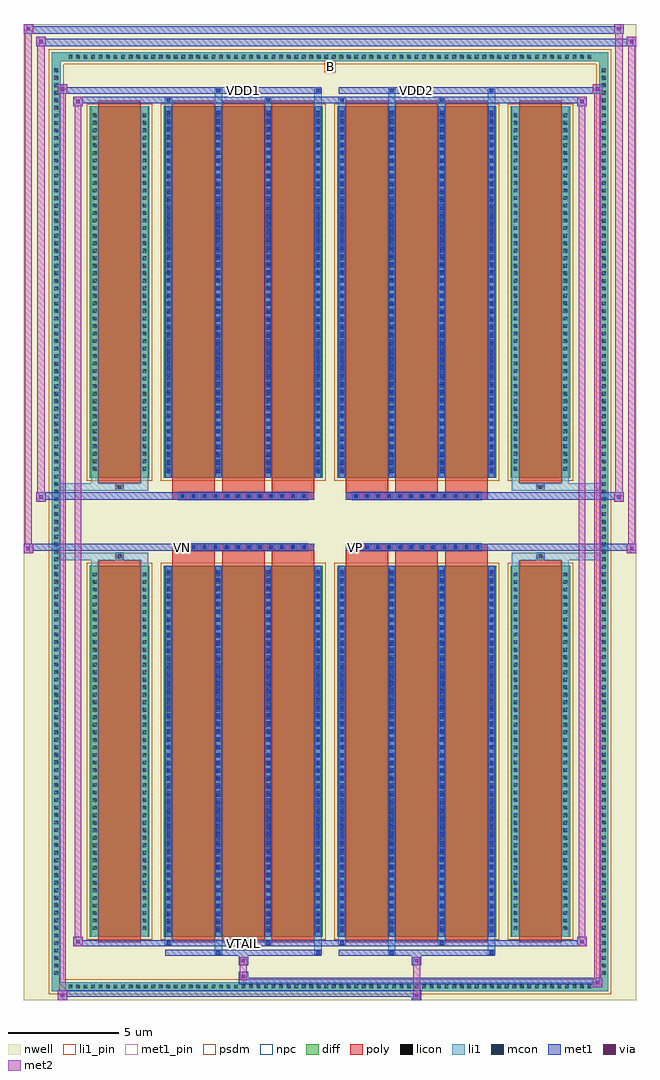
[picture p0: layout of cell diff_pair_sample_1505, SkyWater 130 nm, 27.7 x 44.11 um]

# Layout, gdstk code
import gdstk
lib = gdstk.Library(unit=1e-6, precision=5e-09)
def R(c, l, rs):  # rectangles x0, y0, x1, y1
    for r in rs: c.add(gdstk.rectangle(r[:2], r[2:], *l))
def A(c, l, x, y, w, h, nx, ny, dx, dy):  # array of equal rectangles
    R(c, l, [(x+i*dx, y+j*dy, x+i*dx+w, y+j*dy+h) for i in range(nx) for j in range(ny)])
def P(c, l, *ps):  # polygons
    for p in ps: c.add(gdstk.Polygon(p, *l))
nwell = (64, 20)
diff = (65, 20)
poly = (66, 20)
licon = (66, 44)
li1_pin = (67, 16)
li1 = (67, 20)
mcon = (67, 44)
met1_pin = (68, 16)
met1 = (68, 20)
via = (68, 44)
met2 = (69, 20)
psdm = (94, 20)
npc = (95, 20)

diff_pair_sample_1505 = lib.new_cell('diff_pair_sample_1505')
R(diff_pair_sample_1505, nwell, [(-13.85,-21.62,13.85,22.49), (-11.17,-19.81,-0.01,-0.795), (0.01,-19.81,11.17,-0.795), (-11.17,0.795,-0.01,19.81), (0.01,0.795,11.17,19.81)])
A(diff_pair_sample_1505, diff, -11.935, -21.22, 0.41, 0.41, 70, 2, 0.34, 42.03)
A(diff_pair_sample_1505, diff, -12.58, -20.605, 0.41, 0.41, 1, 121, 0, 0.34)
A(diff_pair_sample_1505, diff, 12.17, -20.605, 0.41, 0.41, 1, 121, 0, 0.34)
R(diff_pair_sample_1505, diff, [(-11.935,-21.22,11.935,-20.81), (-12.58,-20.605,-12.17,20.605), (12.17,-20.605,12.58,20.605), (-10.86,-18.765,-8.16,-1.985), (-7.52,-18.765,-0.32,-1.985), (0.32,-18.765,7.52,-1.985), (8.16,-18.765,10.86,-1.985), (-10.86,1.985,-8.16,18.765), (-7.52,1.985,-0.32,18.765), (0.32,1.985,7.52,18.765), (8.16,1.985,10.86,18.765), (-11.935,20.81,11.935,21.22)])
P(diff_pair_sample_1505, diff, [(12.58,21.22),(-12.58,21.22),(-12.58,-20.81),(-12.17,-20.81),(-12.17,20.81),(12.17,20.81),(12.17,-20.81),(-12.17,-20.81),(-12.58,-20.81),(-12.58,-21.22),(12.58,-21.22)])
A(diff_pair_sample_1505, poly, -7.13, -19.015, 1.92, 17.28, 3, 2, 2.25, 20.75)
A(diff_pair_sample_1505, poly, 0.71, -19.015, 1.92, 17.28, 3, 2, 2.25, 20.75)
A(diff_pair_sample_1505, poly, -7.13, -1.735, 1.92, 0.41, 3, 2, 2.25, 3.06)
A(diff_pair_sample_1505, poly, 0.71, -1.735, 1.92, 0.41, 3, 2, 2.25, 3.06)
A(diff_pair_sample_1505, poly, -6.835, -1.325, 0.33, 0.33, 12, 2, 0.5, 2.32)
A(diff_pair_sample_1505, poly, 1.005, -1.325, 0.33, 0.33, 12, 2, 0.5, 2.32)
R(diff_pair_sample_1505, poly, [(-10.47,-19.015,-8.55,-1.735), (8.55,-19.015,10.47,-1.735), (-9.675,-1.735,-9.345,-1.405), (-9.675,-1.735,-9.345,-1.405), (9.345,-1.735,9.675,-1.405), (9.345,-1.735,9.675,-1.405), (-7.13,-1.325,-0.71,-0.995), (0.71,-1.325,7.13,-0.995), (-7.13,0.995,-0.71,1.325), (0.71,0.995,7.13,1.325), (-9.675,1.405,-9.345,1.735), (-9.675,1.405,-9.345,1.735), (9.345,1.405,9.675,1.735), (9.345,1.405,9.675,1.735), (-10.47,1.735,-8.55,19.015), (8.55,1.735,10.47,19.015)])
A(diff_pair_sample_1505, licon, -11.815, -21.1, 0.17, 0.17, 70, 2, 0.34, 42.03)
A(diff_pair_sample_1505, licon, -12.46, -20.485, 0.17, 0.17, 1, 121, 0, 0.34)
A(diff_pair_sample_1505, licon, 12.29, -20.485, 0.17, 0.17, 1, 121, 0, 0.34)
A(diff_pair_sample_1505, licon, -10.72, -18.45, 0.17, 0.17, 1, 48, 0, 0.34)
A(diff_pair_sample_1505, licon, -8.47, -18.45, 0.17, 0.17, 1, 48, 0, 0.34)
A(diff_pair_sample_1505, licon, -7.38, -18.45, 0.17, 0.17, 4, 48, 2.25, 0.34)
A(diff_pair_sample_1505, licon, 0.46, -18.45, 0.17, 0.17, 4, 48, 2.25, 0.34)
A(diff_pair_sample_1505, licon, 8.3, -18.45, 0.17, 0.17, 1, 48, 0, 0.34)
A(diff_pair_sample_1505, licon, 10.55, -18.45, 0.17, 0.17, 1, 48, 0, 0.34)
A(diff_pair_sample_1505, licon, -6.755, -1.245, 0.17, 0.17, 12, 2, 0.5, 2.32)
A(diff_pair_sample_1505, licon, 1.085, -1.245, 0.17, 0.17, 12, 2, 0.5, 2.32)
A(diff_pair_sample_1505, licon, -10.72, 2.3, 0.17, 0.17, 1, 48, 0, 0.34)
A(diff_pair_sample_1505, licon, -8.47, 2.3, 0.17, 0.17, 1, 48, 0, 0.34)
A(diff_pair_sample_1505, licon, -7.38, 2.3, 0.17, 0.17, 4, 48, 2.25, 0.34)
A(diff_pair_sample_1505, licon, 0.46, 2.3, 0.17, 0.17, 4, 48, 2.25, 0.34)
A(diff_pair_sample_1505, licon, 8.3, 2.3, 0.17, 0.17, 1, 48, 0, 0.34)
A(diff_pair_sample_1505, licon, 10.55, 2.3, 0.17, 0.17, 1, 48, 0, 0.34)
R(diff_pair_sample_1505, licon, [(-9.595,-1.655,-9.425,-1.485), (9.425,-1.655,9.595,-1.485), (-9.595,1.485,-9.425,1.655), (9.425,1.485,9.595,1.655)])
R(diff_pair_sample_1505, li1_pin, [(-0.25,20.31,0.25,20.81)])
A(diff_pair_sample_1505, li1, -11.895, -21.18, 0.33, 0.33, 70, 2, 0.34, 42.03)
A(diff_pair_sample_1505, li1, -12.54, -20.565, 0.33, 0.33, 1, 121, 0, 0.34)
A(diff_pair_sample_1505, li1, 12.21, -20.565, 0.33, 0.33, 1, 121, 0, 0.34)
A(diff_pair_sample_1505, li1, -7.46, -18.765, 0.33, 16.78, 4, 2, 2.25, 20.75)
A(diff_pair_sample_1505, li1, 0.38, -18.765, 0.33, 16.78, 4, 2, 2.25, 20.75)
A(diff_pair_sample_1505, li1, -7.38, -18.56, 0.17, 0.17, 4, 46, 2.25, 0.36)
A(diff_pair_sample_1505, li1, -7.38, -18.56, 0.17, 16.37, 4, 2, 2.25, 20.75)
A(diff_pair_sample_1505, li1, 0.46, -18.56, 0.17, 0.17, 4, 46, 2.25, 0.36)
A(diff_pair_sample_1505, li1, 0.46, -18.56, 0.17, 16.37, 4, 2, 2.25, 20.75)
A(diff_pair_sample_1505, li1, -10.8, -18.53, 0.33, 0.33, 1, 48, 0, 0.34)
A(diff_pair_sample_1505, li1, -8.55, -18.53, 0.33, 0.33, 1, 48, 0, 0.34)
A(diff_pair_sample_1505, li1, -7.46, -18.53, 0.33, 0.33, 4, 48, 2.25, 0.34)
A(diff_pair_sample_1505, li1, 0.38, -18.53, 0.33, 0.33, 4, 48, 2.25, 0.34)
A(diff_pair_sample_1505, li1, 8.22, -18.53, 0.33, 0.33, 1, 48, 0, 0.34)
A(diff_pair_sample_1505, li1, 10.47, -18.53, 0.33, 0.33, 1, 48, 0, 0.34)
A(diff_pair_sample_1505, li1, -6.835, -1.325, 0.33, 0.33, 12, 2, 0.5, 2.32)
A(diff_pair_sample_1505, li1, 1.005, -1.325, 0.33, 0.33, 12, 2, 0.5, 2.32)
A(diff_pair_sample_1505, li1, -7.38, 2.19, 0.17, 0.17, 4, 46, 2.25, 0.36)
A(diff_pair_sample_1505, li1, 0.46, 2.19, 0.17, 0.17, 4, 46, 2.25, 0.36)
A(diff_pair_sample_1505, li1, -10.8, 2.22, 0.33, 0.33, 1, 48, 0, 0.34)
A(diff_pair_sample_1505, li1, -8.55, 2.22, 0.33, 0.33, 1, 48, 0, 0.34)
A(diff_pair_sample_1505, li1, -7.46, 2.22, 0.33, 0.33, 4, 48, 2.25, 0.34)
A(diff_pair_sample_1505, li1, 0.38, 2.22, 0.33, 0.33, 4, 48, 2.25, 0.34)
A(diff_pair_sample_1505, li1, 8.22, 2.22, 0.33, 0.33, 1, 48, 0, 0.34)
A(diff_pair_sample_1505, li1, 10.47, 2.22, 0.33, 0.33, 1, 48, 0, 0.34)
R(diff_pair_sample_1505, li1, [(-12.58,-21.22,-12.17,-20.81), (-12.58,-21.22,-12.17,-20.81), (-12.17,-21.22,12.17,-20.81), (12.17,-21.22,12.58,-20.81), (12.17,-21.22,12.58,-20.81), (-12.58,-20.81,-12.17,20.81), (12.17,-20.81,12.58,20.81), (-5.21,-19.57,-4.88,-18.765), (-5.13,-19.57,-4.96,-19.4), (-0.71,-19.57,-0.38,-18.765), (-0.63,-19.57,-0.46,-19.4), (2.63,-19.57,2.96,-18.765), (2.71,-19.57,2.88,-19.4), (7.13,-19.57,7.46,-18.765), (7.21,-19.57,7.38,-19.4), (-7.46,-19.14,-7.13,-18.765), (-7.38,-19.14,-7.21,-18.97), (-2.96,-19.14,-2.63,-18.765), (-2.88,-19.14,-2.71,-18.97), (0.38,-19.14,0.71,-18.765), (0.46,-19.14,0.63,-18.97), (4.88,-19.14,5.21,-18.765), (4.96,-19.14,5.13,-18.97), (-10.8,-18.765,-10.47,-1.985), (-8.55,-18.765,-8.22,-1.985), (8.22,-18.765,8.55,-1.985), (10.47,-18.765,10.8,-1.985), (-10.8,-1.985,-10.47,-1.405), (-8.55,-1.985,-8.22,-1.405), (8.22,-1.985,8.55,-1.405), (10.47,-1.985,10.8,-1.405), (-12.58,-1.735,-9.675,-1.405), (-10.8,-1.735,-9.675,-1.405), (-9.675,-1.735,-9.345,-1.405), (-9.345,-1.735,-8.22,-1.405), (8.22,-1.735,9.345,-1.405), (9.345,-1.735,9.675,-1.405), (9.345,-1.735,12.58,-1.405), (9.675,-1.735,10.8,-1.405), (-12.58,1.405,-9.675,1.735), (-10.8,1.405,-9.675,1.735), (-10.8,1.405,-10.47,1.985), (-9.675,1.405,-9.345,1.735), (-9.345,1.405,-8.22,1.735), (-8.55,1.405,-8.22,1.985), (8.22,1.405,9.345,1.735), (8.22,1.405,8.55,1.985), (9.345,1.405,9.675,1.735), (9.345,1.405,12.58,1.735), (9.675,1.405,10.8,1.735), (10.47,1.405,10.8,1.985), (-10.8,1.985,-10.47,18.765), (-8.55,1.985,-8.22,18.765), (8.22,1.985,8.55,18.765), (10.47,1.985,10.8,18.765), (-7.46,18.765,-7.13,19.14), (-5.21,18.765,-4.88,19.57), (-2.96,18.765,-2.63,19.14), (-0.71,18.765,-0.38,19.57), (0.38,18.765,0.71,19.14), (2.63,18.765,2.96,19.57), (4.88,18.765,5.21,19.14), (7.13,18.765,7.46,19.57), (-7.38,18.97,-7.21,19.14), (-2.88,18.97,-2.71,19.14), (0.46,18.97,0.63,19.14), (4.96,18.97,5.13,19.14), (-5.13,19.4,-4.96,19.57), (-0.63,19.4,-0.46,19.57), (2.71,19.4,2.88,19.57), (7.21,19.4,7.38,19.57), (-12.58,20.81,-12.17,21.22), (-12.58,20.81,-12.17,21.22), (-12.17,20.81,12.17,21.22), (12.17,20.81,12.58,21.22), (12.17,20.81,12.58,21.22)])
A(diff_pair_sample_1505, mcon, -7.38, -18.56, 0.17, 0.17, 4, 46, 2.25, 0.36)
A(diff_pair_sample_1505, mcon, 0.46, -18.56, 0.17, 0.17, 4, 46, 2.25, 0.36)
A(diff_pair_sample_1505, mcon, -6.755, -1.245, 0.17, 0.17, 12, 2, 0.5, 2.32)
A(diff_pair_sample_1505, mcon, 1.085, -1.245, 0.17, 0.17, 12, 2, 0.5, 2.32)
A(diff_pair_sample_1505, mcon, -7.38, 2.19, 0.17, 0.17, 4, 46, 2.25, 0.36)
A(diff_pair_sample_1505, mcon, 0.46, 2.19, 0.17, 0.17, 4, 46, 2.25, 0.36)
R(diff_pair_sample_1505, mcon, [(-5.13,-19.57,-4.96,-19.4), (-0.63,-19.57,-0.46,-19.4), (2.71,-19.57,2.88,-19.4), (7.21,-19.57,7.38,-19.4), (-7.38,-19.14,-7.21,-18.97), (-2.88,-19.14,-2.71,-18.97), (0.46,-19.14,0.63,-18.97), (4.96,-19.14,5.13,-18.97), (-7.38,18.97,-7.21,19.14), (-2.88,18.97,-2.71,19.14), (0.46,18.97,0.63,19.14), (4.96,18.97,5.13,19.14), (-5.13,19.4,-4.96,19.57), (-0.63,19.4,-0.46,19.57), (2.71,19.4,2.88,19.57), (7.21,19.4,7.38,19.57)])
R(diff_pair_sample_1505, met1_pin, [(-4.055,-19.18,-3.785,-18.91), (-6.805,-1.285,-6.535,-1.015), (1.035,-1.285,1.305,-1.015), (-4.055,19.36,-3.785,19.63), (3.785,19.36,4.055,19.63)])
A(diff_pair_sample_1505, met1, -7.44, -18.765, 0.29, 16.78, 4, 2, 2.25, 20.75)
A(diff_pair_sample_1505, met1, 0.4, -18.765, 0.29, 16.78, 4, 2, 2.25, 20.75)
A(diff_pair_sample_1505, met1, -7.44, -18.62, 0.29, 0.29, 4, 46, 2.25, 0.36)
A(diff_pair_sample_1505, met1, 0.4, -18.62, 0.29, 0.29, 4, 46, 2.25, 0.36)
A(diff_pair_sample_1505, met1, -6.815, -1.305, 0.29, 0.29, 12, 2, 0.5, 2.32)
A(diff_pair_sample_1505, met1, 1.025, -1.305, 0.29, 0.29, 12, 2, 0.5, 2.32)
A(diff_pair_sample_1505, met1, -7.44, 2.13, 0.29, 0.29, 4, 46, 2.25, 0.36)
A(diff_pair_sample_1505, met1, 0.4, 2.13, 0.29, 0.29, 4, 46, 2.25, 0.36)
R(diff_pair_sample_1505, met1, [(-12.31,-21.62,-11.88,-21.19), (3.705,-21.62,4.135,-21.19), (-12.31,-21.48,4.135,-21.19), (11.88,-21.05,12.31,-20.62), (-4.135,-20.91,12.31,-20.62), (-4.135,-20.77,-3.705,-20.34), (-4.135,-20.06,-3.705,-19.63), (3.705,-20.06,4.135,-19.63), (-7.44,-19.63,-0.4,-19.34), (-5.19,-19.63,-4.9,-19.34), (-0.69,-19.63,-0.4,-19.34), (0.4,-19.63,7.44,-19.34), (2.65,-19.63,2.94,-19.34), (7.15,-19.63,7.44,-19.34), (-11.6,-19.2,-11.17,-18.77), (-11.6,-19.2,-7.44,-18.91), (-7.44,-19.2,-7.15,-18.91), (-7.44,-19.2,-0.4,-18.91), (-2.94,-19.2,-2.65,-18.91), (-0.4,-19.2,0.4,-18.91), (0.4,-19.2,0.69,-18.91), (0.4,-19.2,7.44,-18.91), (4.9,-19.2,5.19,-18.91), (7.44,-19.2,11.6,-18.91), (11.17,-19.2,11.6,-18.77), (-13.85,-1.425,-13.42,-0.995), (13.42,-1.425,13.85,-0.995), (-13.85,-1.325,-0.71,-0.995), (-7.13,-1.325,-0.71,-0.995), (0.71,-1.325,7.13,-0.995), (0.71,-1.325,13.85,-0.995), (-13.28,0.895,-12.85,1.325), (12.85,0.895,13.28,1.325), (-13.28,0.995,-7.13,1.325), (-7.13,0.995,-0.71,1.325), (0.71,0.995,7.13,1.325), (7.13,0.995,13.28,1.325), (-11.6,18.77,-11.17,19.2), (11.17,18.77,11.6,19.2), (-11.6,18.91,-7.44,19.2), (-7.44,18.91,-7.15,19.2), (-7.44,18.91,-0.4,19.2), (-2.94,18.91,-2.65,19.2), (-0.4,18.91,0.4,19.2), (0.4,18.91,0.69,19.2), (0.4,18.91,7.44,19.2), (4.9,18.91,5.19,19.2), (7.44,18.91,11.6,19.2), (-12.31,19.34,-11.88,19.77), (-12.31,19.34,-7.44,19.63), (-7.44,19.34,-0.4,19.63), (-5.19,19.34,-4.9,19.63), (-0.69,19.34,-0.4,19.63), (0.4,19.34,7.44,19.63), (2.65,19.34,2.94,19.63), (7.15,19.34,7.44,19.63), (7.44,19.34,12.31,19.63), (11.88,19.34,12.31,19.77), (-13.28,21.49,-12.85,21.92), (-13.28,21.49,-11.17,21.82), (-11.17,21.49,11.17,21.82), (11.17,21.49,13.85,21.82), (13.42,21.49,13.85,21.92), (-13.85,22.06,-13.42,22.49), (-13.85,22.06,-11.17,22.39), (-11.17,22.06,11.17,22.39), (11.17,22.06,13.28,22.39), (12.85,22.06,13.28,22.49)])
R(diff_pair_sample_1505, via, [(-12.17,-21.48,-12.02,-21.33), (3.845,-21.48,3.995,-21.33), (12.02,-20.91,12.17,-20.76), (-3.995,-20.63,-3.845,-20.48), (-3.995,-19.92,-3.845,-19.77), (3.845,-19.92,3.995,-19.77), (-11.46,-19.06,-11.31,-18.91), (11.31,-19.06,11.46,-18.91), (-13.71,-1.285,-13.56,-1.135), (13.56,-1.285,13.71,-1.135), (-13.14,1.035,-12.99,1.185), (12.99,1.035,13.14,1.185), (-11.46,18.91,-11.31,19.06), (11.31,18.91,11.46,19.06), (-12.17,19.48,-12.02,19.63), (12.02,19.48,12.17,19.63), (-13.14,21.63,-12.99,21.78), (13.56,21.63,13.71,21.78), (-13.71,22.2,-13.56,22.35), (12.99,22.2,13.14,22.35)])
R(diff_pair_sample_1505, met2, [(-12.31,-21.62,-11.88,-21.19), (-12.24,-21.62,-11.95,19.77), (-11.95,-21.62,-11.88,-21.19), (-12.26,-21.57,-11.93,-21.24), (3.755,-21.57,4.085,-21.24), (3.755,-21.24,4.085,-20.01), (11.88,-21.05,12.31,-20.62), (11.95,-21.05,12.24,19.77), (12.24,-21.05,12.31,-20.62), (11.93,-21,12.26,-20.67), (-4.085,-20.72,-3.755,-20.39), (-4.085,-20.39,-3.755,-20.01), (-4.085,-20.01,-3.755,-19.68), (3.755,-20.01,4.085,-19.68), (-11.6,-19.2,-11.17,-18.77), (-11.53,-19.2,-11.24,19.2), (-11.24,-19.2,-11.17,-18.77), (11.17,-19.2,11.6,-18.77), (11.24,-19.2,11.53,19.2), (11.53,-19.2,11.6,-18.77), (-11.55,-19.15,-11.22,-18.82), (11.22,-19.15,11.55,-18.82), (-13.85,-1.425,-13.42,-0.995), (-13.8,-1.425,-13.47,22.49), (-13.47,-1.425,-13.42,-0.995), (13.42,-1.425,13.85,-0.995), (13.47,-1.425,13.8,21.92), (13.8,-1.425,13.85,-0.995), (-13.8,-1.375,-13.47,-1.045), (13.47,-1.375,13.8,-1.045), (-13.28,0.895,-12.85,1.325), (-13.23,0.895,-12.9,21.92), (-12.9,0.895,-12.85,1.325), (12.85,0.895,13.28,1.325), (12.9,0.895,13.23,22.49), (13.23,0.895,13.28,1.325), (-13.23,0.945,-12.9,1.275), (12.9,0.945,13.23,1.275), (-11.6,18.77,-11.17,19.2), (-11.24,18.77,-11.17,19.2), (11.17,18.77,11.6,19.2), (11.53,18.77,11.6,19.2), (-11.55,18.82,-11.22,19.15), (11.22,18.82,11.55,19.15), (-12.31,19.34,-11.88,19.77), (-11.95,19.34,-11.88,19.77), (11.88,19.34,12.31,19.77), (12.24,19.34,12.31,19.77), (-12.26,19.39,-11.93,19.72), (11.93,19.39,12.26,19.72), (-13.28,21.49,-12.85,21.92), (-12.9,21.49,-12.85,21.92), (13.42,21.49,13.85,21.92), (13.8,21.49,13.85,21.92), (-13.23,21.54,-12.9,21.87), (13.47,21.54,13.8,21.87), (-13.85,22.06,-13.42,22.49), (-13.47,22.06,-13.42,22.49), (12.85,22.06,13.28,22.49), (13.23,22.06,13.28,22.49), (-13.8,22.11,-13.47,22.44), (12.9,22.11,13.23,22.44)])
R(diff_pair_sample_1505, psdm, [(-10.99,-18.895,-8.03,-1.855), (-7.65,-18.895,-0.19,-1.855), (0.19,-18.895,7.65,-1.855), (8.03,-18.895,10.99,-1.855), (-10.99,1.855,-8.03,18.895), (-7.65,1.855,-0.19,18.895), (0.19,1.855,7.65,18.895), (8.03,1.855,10.99,18.895)])
P(diff_pair_sample_1505, psdm, [(12.71,21.35),(-12.71,21.35),(-12.71,-20.68),(-12.04,-20.68),(-12.04,20.68),(12.04,20.68),(12.04,-20.68),(-12.04,-20.68),(-12.71,-20.68),(-12.71,-21.35),(12.71,-21.35)])
A(diff_pair_sample_1505, npc, -6.855, -1.345, 0.37, 0.37, 12, 2, 0.5, 2.32)
A(diff_pair_sample_1505, npc, 0.985, -1.345, 0.37, 0.37, 12, 2, 0.5, 2.32)
R(diff_pair_sample_1505, npc, [(-9.695,-1.755,-9.325,-1.385), (9.325,-1.755,9.695,-1.385), (-6.855,-1.345,-5.985,-0.975), (-6.855,-1.345,-5.985,-0.975), (-6.355,-1.345,-5.485,-0.975), (-6.355,-1.345,-5.485,-0.975), (-5.855,-1.345,-4.985,-0.975), (-5.855,-1.345,-4.985,-0.975), (-5.355,-1.345,-4.485,-0.975), (-5.355,-1.345,-4.485,-0.975), (-4.855,-1.345,-3.985,-0.975), (-4.855,-1.345,-3.985,-0.975), (-4.355,-1.345,-3.485,-0.975), (-4.355,-1.345,-3.485,-0.975), (-3.855,-1.345,-2.985,-0.975), (-3.855,-1.345,-2.985,-0.975), (-3.355,-1.345,-2.485,-0.975), (-3.355,-1.345,-2.485,-0.975), (-2.855,-1.345,-1.985,-0.975), (-2.855,-1.345,-1.985,-0.975), (-2.355,-1.345,-1.485,-0.975), (-2.355,-1.345,-1.485,-0.975), (-1.855,-1.345,-0.985,-0.975), (-1.855,-1.345,-0.985,-0.975), (0.985,-1.345,1.855,-0.975), (0.985,-1.345,1.855,-0.975), (1.485,-1.345,2.355,-0.975), (1.485,-1.345,2.355,-0.975), (1.985,-1.345,2.855,-0.975), (1.985,-1.345,2.855,-0.975), (2.485,-1.345,3.355,-0.975), (2.485,-1.345,3.355,-0.975), (2.985,-1.345,3.855,-0.975), (2.985,-1.345,3.855,-0.975), (3.485,-1.345,4.355,-0.975), (3.485,-1.345,4.355,-0.975), (3.985,-1.345,4.855,-0.975), (3.985,-1.345,4.855,-0.975), (4.485,-1.345,5.355,-0.975), (4.485,-1.345,5.355,-0.975), (4.985,-1.345,5.855,-0.975), (4.985,-1.345,5.855,-0.975), (5.485,-1.345,6.355,-0.975), (5.485,-1.345,6.355,-0.975), (5.985,-1.345,6.855,-0.975), (5.985,-1.345,6.855,-0.975), (-6.855,0.975,-5.985,1.345), (-6.855,0.975,-5.985,1.345), (-6.355,0.975,-5.485,1.345), (-6.355,0.975,-5.485,1.345), (-5.855,0.975,-4.985,1.345), (-5.855,0.975,-4.985,1.345), (-5.355,0.975,-4.485,1.345), (-5.355,0.975,-4.485,1.345), (-4.855,0.975,-3.985,1.345), (-4.855,0.975,-3.985,1.345), (-4.355,0.975,-3.485,1.345), (-4.355,0.975,-3.485,1.345), (-3.855,0.975,-2.985,1.345), (-3.855,0.975,-2.985,1.345), (-3.355,0.975,-2.485,1.345), (-3.355,0.975,-2.485,1.345), (-2.855,0.975,-1.985,1.345), (-2.855,0.975,-1.985,1.345), (-2.355,0.975,-1.485,1.345), (-2.355,0.975,-1.485,1.345), (-1.855,0.975,-0.985,1.345), (-1.855,0.975,-0.985,1.345), (0.985,0.975,1.855,1.345), (0.985,0.975,1.855,1.345), (1.485,0.975,2.355,1.345), (1.485,0.975,2.355,1.345), (1.985,0.975,2.855,1.345), (1.985,0.975,2.855,1.345), (2.485,0.975,3.355,1.345), (2.485,0.975,3.355,1.345), (2.985,0.975,3.855,1.345), (2.985,0.975,3.855,1.345), (3.485,0.975,4.355,1.345), (3.485,0.975,4.355,1.345), (3.985,0.975,4.855,1.345), (3.985,0.975,4.855,1.345), (4.485,0.975,5.355,1.345), (4.485,0.975,5.355,1.345), (4.985,0.975,5.855,1.345), (4.985,0.975,5.855,1.345), (5.485,0.975,6.355,1.345), (5.485,0.975,6.355,1.345), (5.985,0.975,6.855,1.345), (5.985,0.975,6.855,1.345), (-9.695,1.385,-9.325,1.755), (9.325,1.385,9.695,1.755)])
diff_pair_sample_1505.add(gdstk.Label('VTAIL', (-3.92,-19.045), layer=68, texttype=5))
diff_pair_sample_1505.add(gdstk.Label('VN', (-6.67,-1.15), layer=68, texttype=5))
diff_pair_sample_1505.add(gdstk.Label('VP', (1.17,-1.15), layer=68, texttype=5))
diff_pair_sample_1505.add(gdstk.Label('B', (0,20.56), layer=67, texttype=5))
diff_pair_sample_1505.add(gdstk.Label('VDD2', (3.92,19.495), layer=68, texttype=5))
diff_pair_sample_1505.add(gdstk.Label('VDD1', (-3.92,19.495), layer=68, texttype=5))

lib.write_gds('diff_pair_sample_1505.gds')
